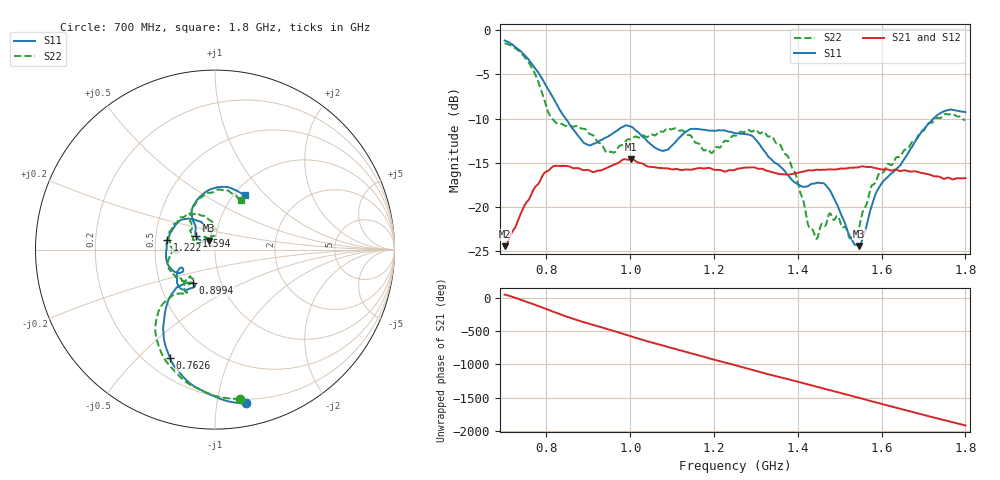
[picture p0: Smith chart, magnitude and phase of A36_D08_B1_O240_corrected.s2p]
! Created with skrf 1.9.0 (http://scikit-rf.org).
# Hz S RI R 50.0
!freq ReS11 ImS11 ReS21 ImS21 ReS12 ImS12 ReS22 ImS22
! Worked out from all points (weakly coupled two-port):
!   1601 points, 700 MHz to 1.8 GHz, reference 50 ohm
!   highest |S21| = -14.57 dB at 1.002 GHz (marker M1); lowest = -24.4 dB at 700.7 MHz (marker M2)
!   lowest |S11| = -24.4 dB at 1.546 GHz (marker M3), VSWR 1.13, Z = 46.5 + j4.65 ohm
!   |S11| at or under -10 dB: 845.6 MHz to 1.724 GHz (878.5 MHz wide, 68.4 % of centre)
!   |S22| runs from -23.6 to -1.5 dB; largest |S21 - S12| = 0.0036
!   S11 on the Smith chart (normalised r, x): 700 MHz: 0.17, -1.21; 762.6 MHz: 0.30, -0.63; 899.4 MHz: 0.73, -0.29; 1.222 GHz: 0.58, +0.07; 1.594 GHz: 0.80, +0.12; 1.8 GHz: 1.12, +0.77
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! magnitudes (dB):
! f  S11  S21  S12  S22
! 700 MHz  -1.2  -24.4  -24.2  -1.5
! 700.7 MHz  -1.2  -24.4  -24.1  -1.5
! 762.6 MHz  -3.7  -18.7  -18.7  -4.1
! 814.1 MHz  -7.5  -15.5  -15.5  -10.0
! 883.6 MHz  -12.4  -15.8  -15.7  -11.1
! 899.4 MHz  -13.0  -15.8  -15.9  -11.6
! 946.1 MHz  -12.1  -15.5  -15.6  -13.8
! 1.002 GHz  -10.9  -14.6  -14.7  -12.4
! 1.067 GHz  -13.5  -15.6  -15.5  -11.5
! 1.194 GHz  -11.4  -15.7  -15.6  -13.9
! 1.222 GHz  -11.3  -16.0  -16.0  -12.7
! 1.25 GHz  -11.6  -15.8  -15.7  -11.9
! 1.357 GHz  -15.4  -16.3  -16.2  -12.9
! 1.394 GHz  -17.3  -16.2  -16.2  -16.2
! 1.434 GHz  -17.4  -15.9  -15.8  -22.4
! 1.472 GHz  -17.8  -15.8  -15.8  -21.2
! 1.525 GHz  -23.4  -15.6  -15.6  -23.6
! 1.546 GHz  -24.4  -15.5  -15.5  -22.3
! 1.594 GHz  -17.8  -15.7  -15.7  -16.2
! 1.617 GHz  -16.5  -15.8  -15.8  -15.1
! 1.731 GHz  -9.7  -16.5  -16.5  -9.9
! 1.8 GHz  -9.3  -16.7  -16.7  -10.1
